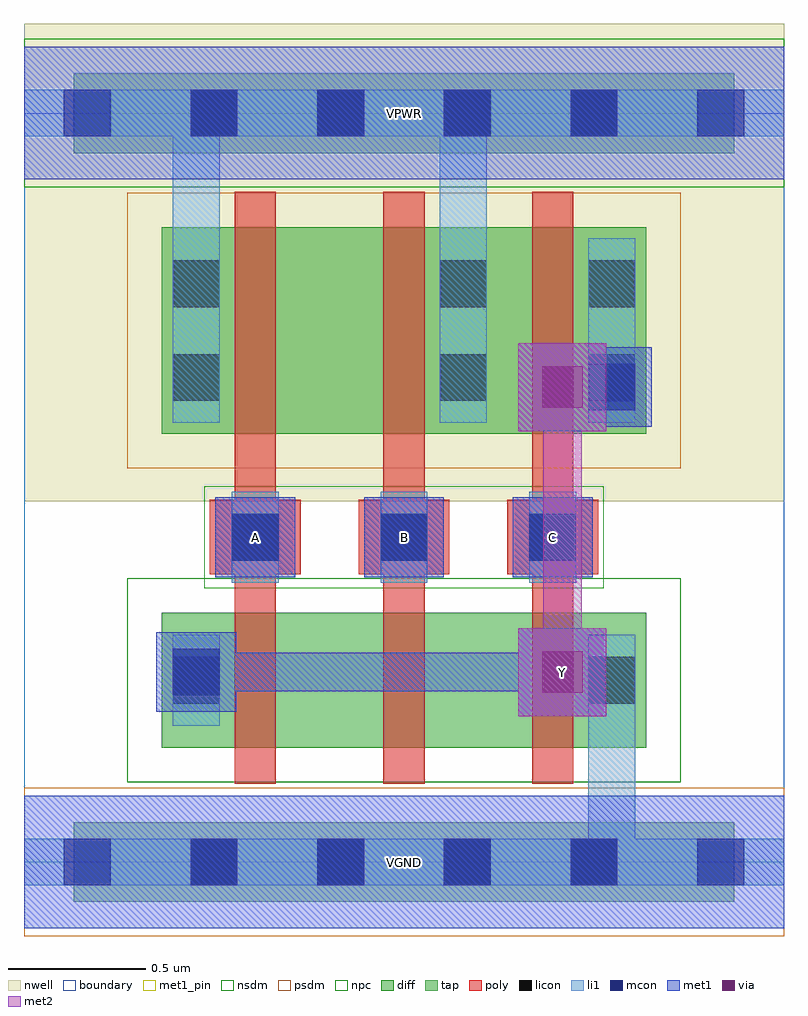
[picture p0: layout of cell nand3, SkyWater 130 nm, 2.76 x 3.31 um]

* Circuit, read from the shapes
.subckt nand3 A B C VGND VPWR Y
XM1 n1 A Y VGND sky130_fd_pr__nfet_01v8 w=0.49 l=0.15
XM2 n2 B n1 VGND sky130_fd_pr__nfet_01v8 w=0.49 l=0.15
XM3 VGND C n2 VGND sky130_fd_pr__nfet_01v8 w=0.49 l=0.15
XM4 n3 A VPWR VPWR sky130_fd_pr__pfet_01v8 w=0.75 l=0.15
XM5 VPWR B n3 VPWR sky130_fd_pr__pfet_01v8 w=0.75 l=0.15
XM6 Y C VPWR VPWR sky130_fd_pr__pfet_01v8 w=0.75 l=0.15
.ends

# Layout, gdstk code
import gdstk
lib = gdstk.Library(unit=1e-6, precision=1e-09)
def R(c, l, rs):  # rectangles x0, y0, x1, y1
    for r in rs: c.add(gdstk.rectangle(r[:2], r[2:], *l))
def A(c, l, x, y, w, h, nx, ny, dx, dy):  # array of equal rectangles
    R(c, l, [(x+i*dx, y+j*dy, x+i*dx+w, y+j*dy+h) for i in range(nx) for j in range(ny)])
nwell = (64, 20)
diff = (65, 20)
tap = (65, 44)
poly = (66, 20)
licon = (66, 44)
li1 = (67, 20)
mcon = (67, 44)
met1_pin = (68, 16)
met1 = (68, 20)
via = (68, 44)
met2 = (69, 20)
nsdm = (93, 44)
psdm = (94, 20)
npc = (95, 20)
boundary = (235, 4)

nand3 = lib.new_cell('nand3')
R(nand3, nwell, [(0,1.31,2.76,3.045)])
R(nand3, diff, [(0.5,0.415,2.26,0.905), (0.5,1.555,2.26,2.305)])
R(nand3, tap, [(0.18,-0.145,2.58,0.145), (0.18,2.575,2.58,2.865)])
A(nand3, poly, 0.765, 0.285, 0.15, 2.15, 3, 1, 0.54, 0)
A(nand3, poly, 0.675, 1.045, 0.33, 0.27, 3, 1, 0.54, 0)
A(nand3, licon, 0.605, -0.085, 0.17, 0.17, 4, 2, 0.46, 2.72)
A(nand3, licon, 0.755, 1.095, 0.17, 0.17, 3, 1, 0.54, 0)
R(nand3, licon, [(0.54,0.575,0.71,0.745), (2.05,0.575,2.22,0.745), (0.54,1.675,0.71,1.845), (1.51,1.675,1.68,1.845), (2.05,1.675,2.22,1.845), (0.54,2.015,0.71,2.185), (1.51,2.015,1.68,2.185), (2.05,2.015,2.22,2.185)])
A(nand3, li1, 0.755, 1.015, 0.17, 0.33, 3, 1, 0.54, 0)
R(nand3, li1, [(0,-0.085,2.76,0.085), (2.05,-0.085,2.22,0.825), (0.54,0.495,0.71,0.825), (2.05,0.495,2.22,0.825), (0.54,1.595,0.71,2.265), (0.54,1.595,0.71,2.805), (1.51,1.595,1.68,2.265), (1.51,1.595,1.68,2.805), (2.05,1.595,2.22,2.265), (0,2.635,2.76,2.805)])
A(nand3, mcon, 0.145, -0.085, 0.17, 0.17, 6, 2, 0.46, 2.72)
A(nand3, mcon, 0.755, 1.095, 0.17, 0.17, 3, 1, 0.54, 0)
R(nand3, mcon, [(0.54,0.605,0.71,0.775), (2.05,1.64,2.22,1.81)])
A(nand3, met1_pin, 0.695, 1.035, 0.29, 0.29, 3, 1, 0.54, 0)
R(nand3, met1_pin, [(0,-0.24,2.76,0.24), (1.795,0.53,2.115,0.85), (0,2.48,2.76,2.96)])
A(nand3, met1, 0.695, 1.035, 0.29, 0.29, 3, 1, 0.54, 0)
R(nand3, met1, [(0,-0.24,2.76,0.24), (1.795,0.53,2.115,0.85), (0.48,0.545,0.77,0.835), (0.555,0.62,0.875,0.76), (0.735,0.62,2.025,0.76), (1.795,1.565,2.115,1.885), (1.99,1.58,2.28,1.87), (1.885,1.655,2.205,1.795), (0,2.48,2.76,2.96)])
R(nand3, via, [(1.88,0.615,2.03,0.765), (1.88,1.65,2.03,1.8)])
R(nand3, met2, [(1.795,0.53,2.115,0.85), (1.885,0.62,2.025,1.795), (1.795,1.565,2.115,1.885)])
R(nand3, nsdm, [(0.375,0.29,2.385,1.03), (0,2.45,2.76,2.99)])
R(nand3, psdm, [(0,-0.27,2.76,0.27), (0.375,1.43,2.385,2.43)])
R(nand3, npc, [(0.655,0.995,2.105,1.365)])
R(nand3, boundary, [(0,0,2.76,2.72)])
nand3.add(gdstk.Label('Y', (1.955,0.69), layer=68, texttype=5))
nand3.add(gdstk.Label('A', (0.84,1.18), layer=68, texttype=5))
nand3.add(gdstk.Label('B', (1.38,1.18), layer=68, texttype=5))
nand3.add(gdstk.Label('C', (1.92,1.18), layer=68, texttype=5))
nand3.add(gdstk.Label('VPWR', (1.38,2.72), layer=68, texttype=5))
nand3.add(gdstk.Label('VGND', (1.38,0), layer=68, texttype=5))
nand3.add(gdstk.Label('Y', (1.955,0.69), layer=68, texttype=16))
nand3.add(gdstk.Label('A', (0.84,1.18), layer=68, texttype=16))
nand3.add(gdstk.Label('B', (1.38,1.18), layer=68, texttype=16))
nand3.add(gdstk.Label('C', (1.92,1.18), layer=68, texttype=16))
nand3.add(gdstk.Label('VPWR', (1.38,2.72), layer=68, texttype=16))
nand3.add(gdstk.Label('VGND', (1.38,0), layer=68, texttype=16))

lib.write_gds('nand3.gds')
